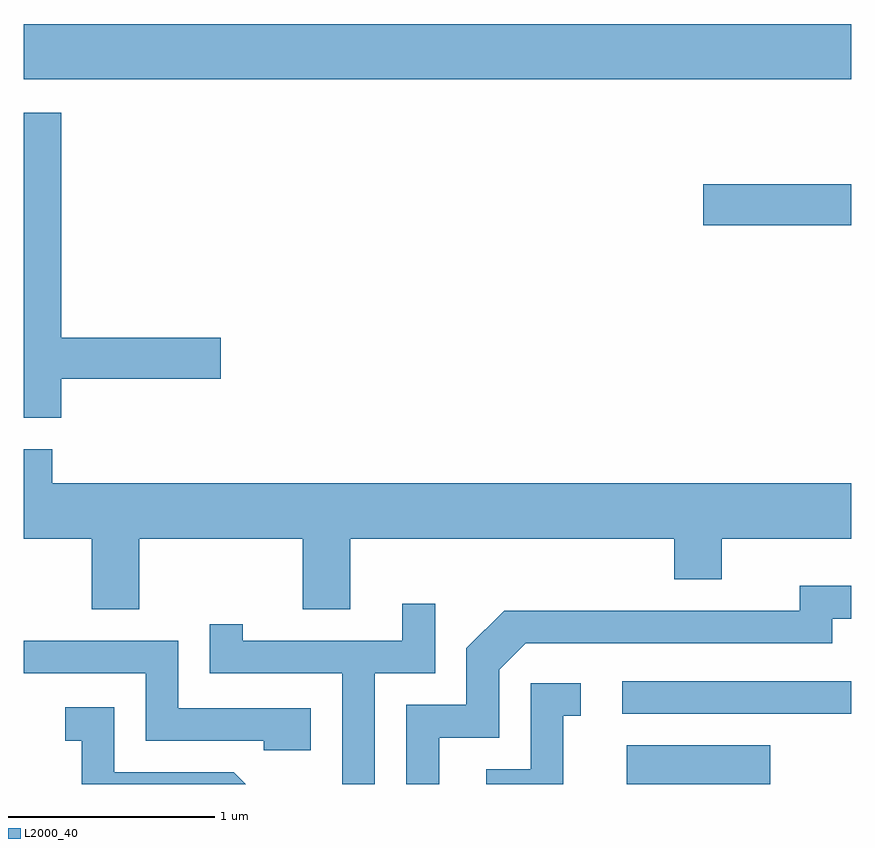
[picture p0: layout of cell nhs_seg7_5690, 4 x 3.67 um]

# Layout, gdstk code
import gdstk
lib = gdstk.Library(unit=1e-6, precision=1e-09)
def R(c, l, rs):  # rectangles x0, y0, x1, y1
    for r in rs: c.add(gdstk.rectangle(r[:2], r[2:], *l))
def P(c, l, *ps):  # polygons
    for p in ps: c.add(gdstk.Polygon(p, *l))
L2000_40 = (2000, 40)

nhs_seg7_5690 = lib.new_cell('nhs_seg7_5690')
R(nhs_seg7_5690, L2000_40, [(362.526,1704.252,363.219,1704.439), (362.503,1704.591,363.611,1704.749), (362.896,1706.951,363.611,1707.149), (359.611,1707.656,363.611,1707.924)])
P(nhs_seg7_5690, L2000_40, [(359.794,1706.211),(360.564,1706.211),(360.564,1706.409),(359.794,1706.409),(359.794,1707.494),(359.611,1707.494),(359.611,1706.021),(359.794,1706.021)],
  [(359.611,1705.869),(359.611,1705.436),(359.941,1705.436),(359.941,1705.096),(360.169,1705.096),(360.169,1705.436),(360.961,1705.436),(360.961,1705.096),(361.189,1705.096),(361.189,1705.436),(362.756,1705.436),(362.756,1705.241),(362.984,1705.241),(362.984,1705.436),(363.611,1705.436),(363.611,1705.704),(359.749,1705.704),(359.749,1705.869)],
  [(361.619,1704.476),(361.909,1704.476),(361.909,1704.804),(362.037,1704.931),(363.519,1704.931),(363.519,1705.051),(363.611,1705.051),(363.611,1705.209),(363.361,1705.209),(363.361,1705.089),(361.934,1705.089),(361.751,1704.907),(361.751,1704.634),(361.461,1704.634),(361.461,1704.252),(361.619,1704.252)],
  [(361.309,1704.786),(361.599,1704.786),(361.599,1705.123),(361.441,1705.123),(361.441,1704.944),(360.669,1704.944),(360.669,1705.023),(360.511,1705.023),(360.511,1704.786),(361.151,1704.786),(361.151,1704.252),(361.309,1704.252)],
  [(360.999,1704.619),(360.359,1704.619),(360.359,1704.944),(359.611,1704.944),(359.611,1704.786),(360.201,1704.786),(360.201,1704.461),(360.771,1704.461),(360.771,1704.416),(360.999,1704.416)],
  [(362.219,1704.581),(362.303,1704.581),(362.303,1704.739),(362.061,1704.739),(362.061,1704.324),(361.846,1704.324),(361.846,1704.252),(362.219,1704.252)],
  [(360.627,1704.309),(360.049,1704.309),(360.049,1704.624),(359.813,1704.624),(359.813,1704.461),(359.891,1704.461),(359.891,1704.252),(360.684,1704.252)])

lib.write_gds('nhs_seg7_5690.gds')
